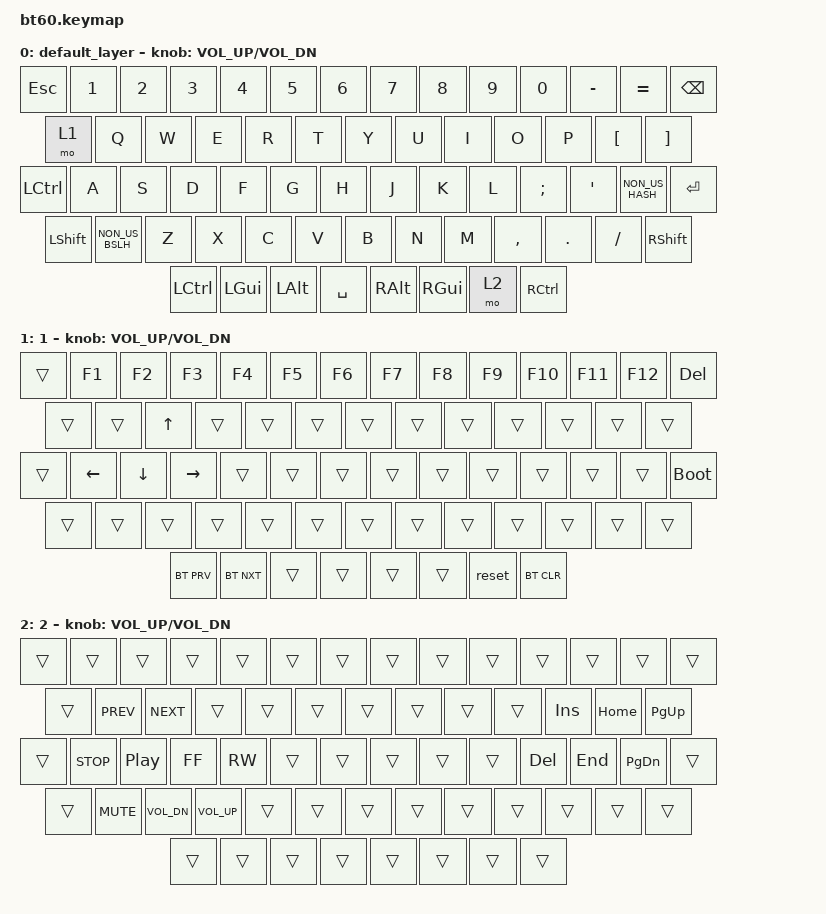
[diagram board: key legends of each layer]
#include <behaviors.dtsi>
#include <dt-bindings/zmk/keys.h>
#include <dt-bindings/zmk/bt.h>


/ {
	keymap {
		compatible = "zmk,keymap";

		default_layer {
				// ------------------------------------------------------------------------------------------
				// |  `  |  1  |  2  |  3  |  4  |  5  |  6  |  7  |  8  |  9  |  0  |  -  |  =  |   BKSP
				// | TAB  |  Q  |  W  |  E  |  R  |  T  |  Y  |  U  |  I  |  O  |  P  |  [  |  ]  |        |
				// | CAPS  |  A  |  S  |  D  |  F  |  G  |  H  |  J  |  K  |  L  |  ;  |  '  |  #  | ENTER |
				// |  SHIFT|  \ |  Z  |  X  |  C  |  V  |  B  |  N  |  M  |  ,  |  .  | /   |    SHIFT    |
				// |  CTL  |  WIN  |  ALT  |            SPACE               | ALT | 1    |  MENU    |  CTRL|
				// ------------------------------------------------------------------------------------------
			bindings = <

				&kp ESC &kp N1 &kp N2 &kp N3 &kp N4 &kp N5 &kp N6 &kp N7 &kp  N8   &kp  N9 &kp  N0  &kp MINUS &kp EQUAL &kp BSPC
				&mo 1  &kp Q  &kp W  &kp E  &kp R  &kp T  &kp Y  &kp U  &kp  I    &kp  O  &kp  P   &kp LBKT &kp RBKT
				&kp LCTRL  &kp A  &kp S  &kp D  &kp F  &kp G  &kp H  &kp J  &kp  K    &kp  L  &kp SEMI &kp SQT &kp NON_US_HASH  &kp RET
				&kp LSHFT &kp NON_US_BSLH &kp Z  &kp X  &kp C  &kp V  &kp B  &kp N  &kp M  &kp COMMA &kp DOT &kp FSLH         &kp RSHFT
				&kp LCTRL &kp LGUI &kp LALT            &kp SPACE                          &kp RALT  &kp RGUI &mo 2   &kp RCTRL
			>;
			sensor-bindings = <&inc_dec_kp C_VOL_UP C_VOL_DN>;
		};
		1 {
			bindings = <
				&trans &kp F1 &kp F2 &kp F3 &kp F4 &kp F5 &kp F6 &kp F7 &kp F8 &kp F9 &kp F10 &kp F11 &kp F12 &kp DEL
				&trans &trans &kp UP &trans &trans &trans &trans &trans &trans &trans &trans &trans &trans
				&trans    &kp LEFT &kp DOWN &kp RIGHT &trans &trans &trans &trans &trans &trans &trans  &trans &trans  &bootloader
				&trans  &trans  &trans  &trans  &trans &trans &trans &trans &trans &trans &trans &trans  &trans
				&bt BT_PRV &bt BT_NXT  &trans              &trans                            &trans   &trans   &reset &bt BT_CLR
			>;
			sensor-bindings = <&inc_dec_kp C_VOL_UP C_VOL_DN>;
		};
		2 {
			bindings = <
				&trans &trans &trans &trans &trans &trans &trans &trans &trans &trans &trans &trans &trans &trans
				&trans &kp C_PREV &kp C_NEXT &trans &trans &trans &trans &trans &trans &trans &kp INS &kp HOME &kp PG_UP
				&trans &kp C_STOP &kp C_PP &kp C_FF &kp C_RW &trans &trans &trans &trans &trans &kp DEL &kp END  &kp PG_DN &trans
				&trans &kp C_MUTE &kp C_VOL_DN &kp C_VOL_UP &trans &trans &trans &trans &trans &trans &trans &trans  &trans
				&trans &trans  &trans              &trans                            &trans   &trans   &trans &trans
			>;
			sensor-bindings = <&inc_dec_kp C_VOL_UP C_VOL_DN>;
		};
	};
};
